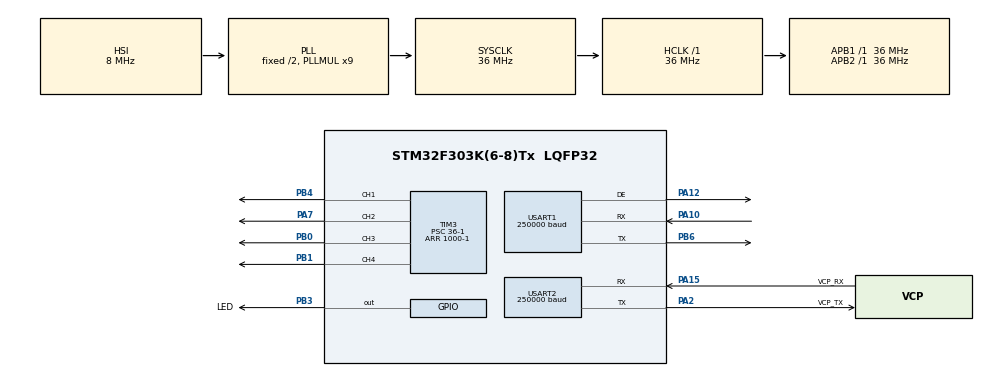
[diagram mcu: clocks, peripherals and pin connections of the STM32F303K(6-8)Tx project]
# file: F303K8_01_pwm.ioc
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Mcu.Family=STM32F3
Mcu.Name=STM32F303K(6-8)Tx
Mcu.Package=LQFP32
NVIC.PriorityGroup=NVIC_PRIORITYGROUP_4
PA10.Mode=Asynchronous
PA10.Signal=USART1_RX
PA12.Mode=Hardware Flow Control (RS485)
PA12.Signal=USART1_DE
PA13.GPIO_Label=SWDIO
PA13.Mode=Serial_Wire
PA13.Signal=SYS_JTMS-SWDIO
PA14.GPIO_Label=SWCLK
PA14.Mode=Serial_Wire
PA14.Signal=SYS_JTCK-SWCLK
PA15.GPIO_Label=VCP_RX
PA15.Mode=Asynchronous
PA15.Signal=USART2_RX
PA2.GPIO_Label=VCP_TX
PA2.Mode=Asynchronous
PA2.Signal=USART2_TX
PA7.Signal=S_TIM3_CH2
PB0.Signal=S_TIM3_CH3
PB1.Signal=S_TIM3_CH4
PB3.GPIO_Label=LED
PB3.Signal=GPIO_Output
PB4.Signal=S_TIM3_CH1
PB6.Mode=Asynchronous
PB6.Signal=USART1_TX
PF0\ /\ OSC_IN.GPIO_Label=MCO
PF0\ /\ OSC_IN.Mode=HSE-External-Clock-Source
PF0\ /\ OSC_IN.Signal=RCC_OSC_IN
ProjectManager.HeapSize=0x200
ProjectManager.StackSize=0x400
ProjectManager.TargetToolchain=STM32CubeIDE
RCC.AHBFreq_Value=36000000
RCC.APB1Freq_Value=36000000
RCC.APB1TimFreq_Value=36000000
RCC.APB2Freq_Value=36000000
RCC.APB2TimFreq_Value=36000000
RCC.CortexFreq_Value=36000000
RCC.HCLKFreq_Value=36000000
RCC.HSE_VALUE=8000000
RCC.HSI_VALUE=8000000
RCC.PLLMUL=RCC_PLL_MUL9
RCC.SYSCLKFreq_VALUE=36000000
RCC.SYSCLKSourceVirtual=RCC_SYSCLKSOURCE_PLLCLK
RCC.Usart1ClockSelection=RCC_USART1CLKSOURCE_HSI
SH.S_TIM3_CH1.0=TIM3_CH1,PWM Generation1 CH1
SH.S_TIM3_CH2.0=TIM3_CH2,PWM Generation2 CH2
SH.S_TIM3_CH3.0=TIM3_CH3,PWM Generation3 CH3
SH.S_TIM3_CH4.0=TIM3_CH4,PWM Generation4 CH4
TIM3.Channel-PWM\ Generation1\ CH1=TIM_CHANNEL_1
TIM3.Channel-PWM\ Generation2\ CH2=TIM_CHANNEL_2
TIM3.Channel-PWM\ Generation3\ CH3=TIM_CHANNEL_3
TIM3.Channel-PWM\ Generation4\ CH4=TIM_CHANNEL_4
TIM3.OCPolarity_1=TIM_OCPOLARITY_HIGH
TIM3.OCPolarity_2=TIM_OCPOLARITY_HIGH
TIM3.OCPolarity_3=TIM_OCPOLARITY_HIGH
TIM3.OCPolarity_4=TIM_OCPOLARITY_HIGH
TIM3.Period=1000-1
TIM3.Prescaler=36-1
USART1.BaudRate=250000
USART1.VirtualMode-Asynchronous=VM_ASYNC
USART1.VirtualMode-Hardware\ Flow\ Control\ (RS485)=VM_ASYNC
USART2.BaudRate=250000
USART2.VirtualMode-Asynchronous=VM_ASYNC
VP_TIM3_VS_ClockSourceINT.Mode=Internal
board=NUCLEO-F303K8

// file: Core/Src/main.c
/* USER CODE BEGIN Header */
/**
 ******************************************************************************
 * @file           : main.c
 * @brief          : Main program body
 ******************************************************************************
 * @attention
 *
 * Copyright (c) 2024 STMicroelectronics.
 * All rights reserved.
 *
 * This software is licensed under terms that can be found in the LICENSE file
 * in the root directory of this software component.
 * If no LICENSE file comes with this software, it is provided AS-IS.
 *
 ******************************************************************************
 * NUCLEO-F303K8 pwm output
 *
 * https://github.com/kucar17/UART-Interrupt-with-PWM-STM32-Nucleo-F303K8
 * test online edit
 ******************************************************************************
 */
/* USER CODE END Header */
#include "main.h"

TIM_HandleTypeDef htim3;

UART_HandleTypeDef huart1;
UART_HandleTypeDef huart2;

/* USER CODE BEGIN PV */
uint16_t pwmR, pwmG, pwmB;
int8_t stepR, stepG = 20, stepB = -40;

/* USER CODE END PV */

void SystemClock_Config(void);
static void MX_GPIO_Init(void);
static void MX_USART2_UART_Init(void);
static void MX_USART1_UART_Init(void);
static void MX_TIM3_Init(void);

/* USER CODE BEGIN 0 */
int _write(int file, char *ptr, int len) {
	HAL_UART_Transmit(&huart2, (uint8_t*) ptr, len, HAL_MAX_DELAY);
	return len;
}

void rainbow(void){
    if (pwmR == 0)    stepR = 10;
    if (pwmR == 1000) stepR = -10;
    pwmR += stepR;
    if (pwmG == 0)    stepG = 20;
    if (pwmG == 1000) stepG = -20;
    pwmG += stepG;
    if (pwmB == 0)    stepB = 40;
    if (pwmB == 1000) stepB = -40;
    pwmB += stepB;

    TIM3->CCR1 = pwmR;
    TIM3->CCR2 = pwmG;
    TIM3->CCR3 = pwmB;
    HAL_Delay(9);
}

void rainbowR(void){
    uint8_t i;
    for(i=0;i<3;i){
        if (pwmR == 0){
            stepR = 20;
        }
        if (pwmR == 1000) {
            stepR = -10;
            i++;
        }
        pwmR += stepR;
        TIM3->CCR1 = pwmR;
        HAL_Delay(3);
    }
    TIM3->CCR1 = 990;
    HAL_Delay(1000);
    /*
    for(i=0;i<3;i++){
        if (pwmR == 0)    stepR = 10;
        if (pwmR == 1000) stepR = -20;
        pwmR += stepR;
        TIM3->CCR1 = pwmR;
        HAL_Delay(3);
    }
    */

}
/* USER CODE END 0 */

int main(void)
{

  /* MCU Configuration--------------------------------------------------------*/

  /* Reset of all peripherals, Initializes the Flash interface and the Systick. */
  HAL_Init();

  /* Configure the system clock */
  SystemClock_Config();

  /* Initialize all configured peripherals */
  MX_GPIO_Init();
  MX_USART2_UART_Init();
  MX_USART1_UART_Init();
  MX_TIM3_Init();
  /* USER CODE BEGIN 2 */
    /*
	pwmR = 0;
	pwmG = 580;
	pwmB = 900;

	TIM3->CCR1 = pwmR;
	TIM3->CCR2 = pwmG;
	TIM3->CCR3 = pwmB;
	TIM3->CCR4 = 500;
    */
    TIM3->CCR1 = 1000;
    TIM3->CCR2 = 1000;
    TIM3->CCR3 = 1000;
    TIM3->CCR4 = 1000;

	HAL_TIM_PWM_Start(&htim3, TIM_CHANNEL_1); //coment test
	HAL_TIM_PWM_Start(&htim3, TIM_CHANNEL_2);
	HAL_TIM_PWM_Start(&htim3, TIM_CHANNEL_3);
	HAL_TIM_PWM_Start(&htim3, TIM_CHANNEL_4);

	printf("\r\nSTM32F303 HALinit b0.01\r\n");
	printf("\r\n36MHz internal clock\r\n");
	printf("UART1 250kbps RS485\r\n");
	printf("UART2 250kbps VCP debug port\r\n");
	printf("TIM3 4xPWM@1kHz CH1-PB4, CH2-PA7, CH3-PB0 ,CH4-PB1\r\n");

  /* USER CODE END 2 */

  /* Infinite loop */
  /* USER CODE BEGIN WHILE */
	while (1) {
		//HAL_GPIO_TogglePin(LED_GPIO_Port, LED_Pin);
		// HAL_GPIO_TogglePin(LED2_GPIO_Port, LED2_Pin);
		//HAL_Delay(500);
	    //rainbow();
	    rainbowR();

    /* USER CODE END WHILE */

	}
}

void SystemClock_Config(void)
{
  RCC_OscInitTypeDef RCC_OscInitStruct = {0};
  RCC_ClkInitTypeDef RCC_ClkInitStruct = {0};
  RCC_PeriphCLKInitTypeDef PeriphClkInit = {0};

  /** Initializes the RCC Oscillators according to the specified parameters
  * in the RCC_OscInitTypeDef structure.
  */
  RCC_OscInitStruct.OscillatorType = RCC_OSCILLATORTYPE_HSI;
  RCC_OscInitStruct.HSIState = RCC_HSI_ON;
  RCC_OscInitStruct.HSICalibrationValue = RCC_HSICALIBRATION_DEFAULT;
  RCC_OscInitStruct.PLL.PLLState = RCC_PLL_ON;
  RCC_OscInitStruct.PLL.PLLSource = RCC_PLLSOURCE_HSI;
  RCC_OscInitStruct.PLL.PLLMUL = RCC_PLL_MUL9;
  if (HAL_RCC_OscConfig(&RCC_OscInitStruct) != HAL_OK)
  {
    Error_Handler();
  }

  /** Initializes the CPU, AHB and APB buses clocks
  */
  RCC_ClkInitStruct.ClockType = RCC_CLOCKTYPE_HCLK|RCC_CLOCKTYPE_SYSCLK
                              |RCC_CLOCKTYPE_PCLK1|RCC_CLOCKTYPE_PCLK2;
  RCC_ClkInitStruct.SYSCLKSource = RCC_SYSCLKSOURCE_PLLCLK;
  RCC_ClkInitStruct.AHBCLKDivider = RCC_SYSCLK_DIV1;
  RCC_ClkInitStruct.APB1CLKDivider = RCC_HCLK_DIV1;
  RCC_ClkInitStruct.APB2CLKDivider = RCC_HCLK_DIV1;

  if (HAL_RCC_ClockConfig(&RCC_ClkInitStruct, FLASH_LATENCY_1) != HAL_OK)
  {
    Error_Handler();
  }
  PeriphClkInit.PeriphClockSelection = RCC_PERIPHCLK_USART1;
  PeriphClkInit.Usart1ClockSelection = RCC_USART1CLKSOURCE_HSI;
  if (HAL_RCCEx_PeriphCLKConfig(&PeriphClkInit) != HAL_OK)
  {
    Error_Handler();
  }
}

static void MX_TIM3_Init(void)
{

  TIM_ClockConfigTypeDef sClockSourceConfig = {0};
  TIM_MasterConfigTypeDef sMasterConfig = {0};
  TIM_OC_InitTypeDef sConfigOC = {0};

  htim3.Instance = TIM3;
  htim3.Init.Prescaler = 36-1;
  htim3.Init.CounterMode = TIM_COUNTERMODE_UP;
  htim3.Init.Period = 1000-1;
  htim3.Init.ClockDivision = TIM_CLOCKDIVISION_DIV1;
  htim3.Init.AutoReloadPreload = TIM_AUTORELOAD_PRELOAD_DISABLE;
  if (HAL_TIM_Base_Init(&htim3) != HAL_OK)
  {
    Error_Handler();
  }
  sClockSourceConfig.ClockSource = TIM_CLOCKSOURCE_INTERNAL;
  if (HAL_TIM_ConfigClockSource(&htim3, &sClockSourceConfig) != HAL_OK)
  {
    Error_Handler();
  }
  if (HAL_TIM_PWM_Init(&htim3) != HAL_OK)
  {
    Error_Handler();
  }
  sMasterConfig.MasterOutputTrigger = TIM_TRGO_RESET;
  sMasterConfig.MasterSlaveMode = TIM_MASTERSLAVEMODE_DISABLE;
  if (HAL_TIMEx_MasterConfigSynchronization(&htim3, &sMasterConfig) != HAL_OK)
  {
    Error_Handler();
  }
  sConfigOC.OCMode = TIM_OCMODE_PWM1;
  sConfigOC.Pulse = 0;
  sConfigOC.OCPolarity = TIM_OCPOLARITY_HIGH;
  sConfigOC.OCFastMode = TIM_OCFAST_DISABLE;
  if (HAL_TIM_PWM_ConfigChannel(&htim3, &sConfigOC, TIM_CHANNEL_1) != HAL_OK)
  {
    Error_Handler();
  }
  if (HAL_TIM_PWM_ConfigChannel(&htim3, &sConfigOC, TIM_CHANNEL_2) != HAL_OK)
  {
    Error_Handler();
  }
  if (HAL_TIM_PWM_ConfigChannel(&htim3, &sConfigOC, TIM_CHANNEL_3) != HAL_OK)
  {
    Error_Handler();
  }
  if (HAL_TIM_PWM_ConfigChannel(&htim3, &sConfigOC, TIM_CHANNEL_4) != HAL_OK)
  {
    Error_Handler();
  }
  HAL_TIM_MspPostInit(&htim3);

}

static void MX_USART1_UART_Init(void)
{

  huart1.Instance = USART1;
  huart1.Init.BaudRate = 250000;
  huart1.Init.WordLength = UART_WORDLENGTH_8B;
  huart1.Init.StopBits = UART_STOPBITS_1;
  huart1.Init.Parity = UART_PARITY_NONE;
  huart1.Init.Mode = UART_MODE_TX_RX;
  huart1.Init.HwFlowCtl = UART_HWCONTROL_NONE;
  huart1.Init.OverSampling = UART_OVERSAMPLING_16;
  huart1.Init.OneBitSampling = UART_ONE_BIT_SAMPLE_DISABLE;
  huart1.AdvancedInit.AdvFeatureInit = UART_ADVFEATURE_NO_INIT;
  if (HAL_RS485Ex_Init(&huart1, UART_DE_POLARITY_HIGH, 0, 0) != HAL_OK)
  {
    Error_Handler();
  }

}

static void MX_USART2_UART_Init(void)
{

  huart2.Instance = USART2;
  huart2.Init.BaudRate = 250000;
  huart2.Init.WordLength = UART_WORDLENGTH_8B;
  huart2.Init.StopBits = UART_STOPBITS_1;
  huart2.Init.Parity = UART_PARITY_NONE;
  huart2.Init.Mode = UART_MODE_TX_RX;
  huart2.Init.HwFlowCtl = UART_HWCONTROL_NONE;
  huart2.Init.OverSampling = UART_OVERSAMPLING_16;
  huart2.Init.OneBitSampling = UART_ONE_BIT_SAMPLE_DISABLE;
  huart2.AdvancedInit.AdvFeatureInit = UART_ADVFEATURE_NO_INIT;
  if (HAL_UART_Init(&huart2) != HAL_OK)
  {
    Error_Handler();
  }

}

static void MX_GPIO_Init(void)
{
  GPIO_InitTypeDef GPIO_InitStruct = {0};

  /* GPIO Ports Clock Enable */
  __HAL_RCC_GPIOF_CLK_ENABLE();
  __HAL_RCC_GPIOA_CLK_ENABLE();
  __HAL_RCC_GPIOB_CLK_ENABLE();

  /*Configure GPIO pin Output Level */
  HAL_GPIO_WritePin(LED_GPIO_Port, LED_Pin, GPIO_PIN_RESET);

  /*Configure GPIO pin : LED_Pin */
  GPIO_InitStruct.Pin = LED_Pin;
  GPIO_InitStruct.Mode = GPIO_MODE_OUTPUT_PP;
  GPIO_InitStruct.Pull = GPIO_NOPULL;
  GPIO_InitStruct.Speed = GPIO_SPEED_FREQ_LOW;
  HAL_GPIO_Init(LED_GPIO_Port, &GPIO_InitStruct);

}

void Error_Handler(void)
{
	__disable_irq();
	while (1) {
	}
}

#ifdef  USE_FULL_ASSERT
/**
  * @brief  Reports the name of the source file and the source line number
  *         where the assert_param error has occurred.
  * @param  file: pointer to the source file name
  * @param  line: assert_param error line source number
  * @retval None
  */
void assert_failed(uint8_t *file, uint32_t line)
{
  /* USER CODE BEGIN 6 */
    /* User can add his own implementation to report the file name and line
     number, ex: printf("Wrong parameters value: file %s on line %d\r\n", file,
     line) */
  /* USER CODE END 6 */
}
#endif /* USE_FULL_ASSERT */
